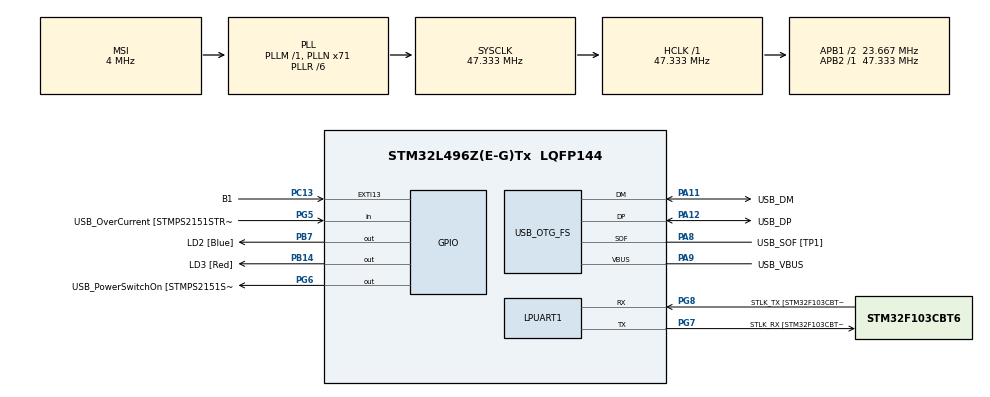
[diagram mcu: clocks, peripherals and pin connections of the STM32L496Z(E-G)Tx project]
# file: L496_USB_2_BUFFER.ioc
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Mcu.Family=STM32L4
Mcu.Name=STM32L496Z(E-G)Tx
Mcu.Package=LQFP144
NVIC.OTG_FS_IRQn=true\:0\:0\:false\:false\:true\:false\:true\:true
NVIC.PriorityGroup=NVIC_PRIORITYGROUP_4
PA10.GPIO_Label=USB_ID
PA10.Signal=USB_OTG_FS_ID
PA11.GPIO_Label=USB_DM
PA11.Mode=Device_Only
PA11.Signal=USB_OTG_FS_DM
PA12.GPIO_Label=USB_DP
PA12.Mode=Device_Only
PA12.Signal=USB_OTG_FS_DP
PA13\ (JTMS/SWDIO).GPIO_Label=TMS
PA13\ (JTMS/SWDIO).Mode=Trace_Asynchronous_SW
PA13\ (JTMS/SWDIO).Signal=SYS_JTMS-SWDIO
PA14\ (JTCK/SWCLK).GPIO_Label=TCK
PA14\ (JTCK/SWCLK).Mode=Trace_Asynchronous_SW
PA14\ (JTCK/SWCLK).Signal=SYS_JTCK-SWCLK
PA8.GPIO_Label=USB_SOF [TP1]
PA8.Mode=Activate_SOF_FS
PA8.Signal=USB_OTG_FS_SOF
PA9.GPIO_Label=USB_VBUS
PA9.Mode=Activate_VBUS
PA9.Signal=USB_OTG_FS_VBUS
PB14.GPIO_Label=LD3 [Red]
PB14.Signal=GPIO_Output
PB3\ (JTDO/TRACESWO).GPIO_Label=SWO
PB3\ (JTDO/TRACESWO).Mode=Trace_Asynchronous_SW
PB3\ (JTDO/TRACESWO).Signal=SYS_JTDO-SWO
PB7.GPIO_Label=LD2 [Blue]
PB7.Signal=GPIO_Output
PC13.GPIO_Label=B1
PC13.Signal=GPXTI13
PC14-OSC32_IN\ (PC14).Mode=LSE-External-Oscillator
PC14-OSC32_IN\ (PC14).Signal=RCC_OSC32_IN
PC15-OSC32_OUT\ (PC15).Mode=LSE-External-Oscillator
PC15-OSC32_OUT\ (PC15).Signal=RCC_OSC32_OUT
PG5.GPIO_Label=USB_OverCurrent [STMPS2151STR_FAULT]
PG5.Signal=GPIO_Input
PG6.GPIO_Label=USB_PowerSwitchOn [STMPS2151STR_EN]
PG6.Signal=GPIO_Output
PG7.GPIO_Label=STLK_RX [STM32F103CBT6_PA3]
PG7.Mode=Asynchronous
PG7.Signal=LPUART1_TX
PG8.GPIO_Label=STLK_TX [STM32F103CBT6_PA2]
PG8.Mode=Asynchronous
PG8.Signal=LPUART1_RX
PH1-OSC_OUT\ (PH1).Signal=RCC_OSC_OUT
ProjectManager.HeapSize=0x200
ProjectManager.StackSize=0x400
ProjectManager.TargetToolchain=STM32CubeIDE
RCC.48MHZClocksFreq_Value=24000000
RCC.ADCFreq_Value=48000000
RCC.AHBFreq_Value=47333333.333333336
RCC.APB1CLKDivider=RCC_HCLK_DIV2
RCC.APB1Freq_Value=23666666.666666668
RCC.APB1TimFreq_Value=47333333.333333336
RCC.APB2Freq_Value=47333333.333333336
RCC.APB2TimFreq_Value=47333333.333333336
RCC.CortexFreq_Value=47333333.333333336
RCC.HCLKFreq_Value=47333333.333333336
RCC.HSE_VALUE=8000000
RCC.HSI48_VALUE=48000000
RCC.HSI_VALUE=16000000
RCC.MSI_VALUE=4000000
RCC.PLLMUL=RCC_PLL_MUL9
RCC.PLLN=71
RCC.PLLR=RCC_PLLR_DIV6
RCC.PLLSAI1N=24
RCC.PRESCALERUSB=RCC_USBCLKSOURCE_PLL_DIV1_5
RCC.SYSCLKFreq_VALUE=47333333.333333336
RCC.SYSCLKSource=RCC_SYSCLKSOURCE_PLLCLK
RCC.SYSCLKSourceVirtual=RCC_SYSCLKSOURCE_PLLCLK
RCC.USBFreq_Value=48000000
RCC.VCOOutputFreq_Value=284000000
USB_DEVICE.CLASS_NAME_FS=CDC
USB_DEVICE.VirtualMode=Cdc
USB_DEVICE.VirtualModeFS=Cdc_FS
USB_OTG_FS.VirtualMode=Device_Only
VP_USB_DEVICE_VS_USB_DEVICE_CDC_FS.Mode=CDC_FS
board=NUCLEO-L496ZG

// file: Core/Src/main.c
/* USER CODE BEGIN Header */
/**
  ******************************************************************************
  * @file           : main.c
  * @brief          : Main program body
  ******************************************************************************
  * @attention
  *
  * Copyright (c) 2026 STMicroelectronics.
  * All rights reserved.
  *
  * This software is licensed under terms that can be found in the LICENSE file
  * in the root directory of this software component.
  * If no LICENSE file comes with this software, it is provided AS-IS.
  *
  ******************************************************************************
  */
/* USER CODE END Header */
#include "main.h"
#include "usb_device.h"

/* USER CODE BEGIN Includes */
#include <stdio.h>
/* USER CODE END Includes */

/* USER CODE BEGIN PD */
extern void CDC_Buffer_Processed(uint8_t buffer_id);
extern volatile uint8_t Buffer_A_Ready;
extern volatile uint8_t Buffer_B_Ready;
extern volatile uint32_t Buffer_A_Length;
extern volatile uint32_t Buffer_B_Length;
extern uint8_t UserRxBufferFS_A[];
extern uint8_t UserRxBufferFS_B[];

/* USER CODE END PD */

UART_HandleTypeDef hlpuart1;

void SystemClock_Config(void);
static void MX_GPIO_Init(void);
static void MX_LPUART1_UART_Init(void);
/* USER CODE BEGIN PFP */
#define PUTCHAR_PROTOTYPE int __io_putchar(int ch)
void save_sdcard(uint8_t *buf, uint32_t len);
/* USER CODE END PFP */

int main(void)
{

  /* MCU Configuration--------------------------------------------------------*/

  /* Reset of all peripherals, Initializes the Flash interface and the Systick. */
  HAL_Init();

  /* Configure the system clock */
  SystemClock_Config();

  /* Initialize all configured peripherals */
  MX_GPIO_Init();
  MX_LPUART1_UART_Init();
  MX_USB_DEVICE_Init();

  /* Infinite loop */
  /* USER CODE BEGIN WHILE */

  while (1)
  {
      if (Buffer_A_Ready)
      {
          save_sdcard(UserRxBufferFS_A, Buffer_A_Length);
          CDC_Buffer_Processed(0);
      }

      if (Buffer_B_Ready)
      {
          save_sdcard(UserRxBufferFS_B, Buffer_B_Length);
          CDC_Buffer_Processed(1);
      }
    /* USER CODE END WHILE */

  }
}

void SystemClock_Config(void)
{
  RCC_OscInitTypeDef RCC_OscInitStruct = {0};
  RCC_ClkInitTypeDef RCC_ClkInitStruct = {0};

  /** Configure the main internal regulator output voltage
  */
  if (HAL_PWREx_ControlVoltageScaling(PWR_REGULATOR_VOLTAGE_SCALE1) != HAL_OK)
  {
    Error_Handler();
  }

  /** Configure LSE Drive Capability
  */
  HAL_PWR_EnableBkUpAccess();
  __HAL_RCC_LSEDRIVE_CONFIG(RCC_LSEDRIVE_LOW);

  /** Initializes the RCC Oscillators according to the specified parameters
  * in the RCC_OscInitTypeDef structure.
  */
  RCC_OscInitStruct.OscillatorType = RCC_OSCILLATORTYPE_LSE|RCC_OSCILLATORTYPE_MSI;
  RCC_OscInitStruct.LSEState = RCC_LSE_ON;
  RCC_OscInitStruct.MSIState = RCC_MSI_ON;
  RCC_OscInitStruct.MSICalibrationValue = 0;
  RCC_OscInitStruct.MSIClockRange = RCC_MSIRANGE_6;
  RCC_OscInitStruct.PLL.PLLState = RCC_PLL_ON;
  RCC_OscInitStruct.PLL.PLLSource = RCC_PLLSOURCE_MSI;
  RCC_OscInitStruct.PLL.PLLM = 1;
  RCC_OscInitStruct.PLL.PLLN = 71;
  RCC_OscInitStruct.PLL.PLLP = RCC_PLLP_DIV2;
  RCC_OscInitStruct.PLL.PLLQ = RCC_PLLQ_DIV2;
  RCC_OscInitStruct.PLL.PLLR = RCC_PLLR_DIV6;
  if (HAL_RCC_OscConfig(&RCC_OscInitStruct) != HAL_OK)
  {
    Error_Handler();
  }

  /** Initializes the CPU, AHB and APB buses clocks
  */
  RCC_ClkInitStruct.ClockType = RCC_CLOCKTYPE_HCLK|RCC_CLOCKTYPE_SYSCLK
                              |RCC_CLOCKTYPE_PCLK1|RCC_CLOCKTYPE_PCLK2;
  RCC_ClkInitStruct.SYSCLKSource = RCC_SYSCLKSOURCE_PLLCLK;
  RCC_ClkInitStruct.AHBCLKDivider = RCC_SYSCLK_DIV1;
  RCC_ClkInitStruct.APB1CLKDivider = RCC_HCLK_DIV2;
  RCC_ClkInitStruct.APB2CLKDivider = RCC_HCLK_DIV1;

  if (HAL_RCC_ClockConfig(&RCC_ClkInitStruct, FLASH_LATENCY_2) != HAL_OK)
  {
    Error_Handler();
  }

  /** Enable MSI Auto calibration
  */
  HAL_RCCEx_EnableMSIPLLMode();
}

static void MX_LPUART1_UART_Init(void)
{

  hlpuart1.Instance = LPUART1;
  hlpuart1.Init.BaudRate = 209700;
  hlpuart1.Init.WordLength = UART_WORDLENGTH_7B;
  hlpuart1.Init.StopBits = UART_STOPBITS_1;
  hlpuart1.Init.Parity = UART_PARITY_NONE;
  hlpuart1.Init.Mode = UART_MODE_TX_RX;
  hlpuart1.Init.HwFlowCtl = UART_HWCONTROL_NONE;
  hlpuart1.Init.OneBitSampling = UART_ONE_BIT_SAMPLE_DISABLE;
  hlpuart1.AdvancedInit.AdvFeatureInit = UART_ADVFEATURE_NO_INIT;
  if (HAL_UART_Init(&hlpuart1) != HAL_OK)
  {
    Error_Handler();
  }

}

static void MX_GPIO_Init(void)
{
  GPIO_InitTypeDef GPIO_InitStruct = {0};

  /* GPIO Ports Clock Enable */
  __HAL_RCC_GPIOC_CLK_ENABLE();
  __HAL_RCC_GPIOH_CLK_ENABLE();
  __HAL_RCC_GPIOB_CLK_ENABLE();
  __HAL_RCC_GPIOG_CLK_ENABLE();
  HAL_PWREx_EnableVddIO2();
  __HAL_RCC_GPIOA_CLK_ENABLE();

  /*Configure GPIO pin Output Level */
  HAL_GPIO_WritePin(GPIOB, LD3_Pin|LD2_Pin, GPIO_PIN_RESET);

  /*Configure GPIO pin Output Level */
  HAL_GPIO_WritePin(USB_PowerSwitchOn_GPIO_Port, USB_PowerSwitchOn_Pin, GPIO_PIN_RESET);

  /*Configure GPIO pin : B1_Pin */
  GPIO_InitStruct.Pin = B1_Pin;
  GPIO_InitStruct.Mode = GPIO_MODE_IT_RISING;
  GPIO_InitStruct.Pull = GPIO_NOPULL;
  HAL_GPIO_Init(B1_GPIO_Port, &GPIO_InitStruct);

  /*Configure GPIO pins : LD3_Pin LD2_Pin */
  GPIO_InitStruct.Pin = LD3_Pin|LD2_Pin;
  GPIO_InitStruct.Mode = GPIO_MODE_OUTPUT_PP;
  GPIO_InitStruct.Pull = GPIO_NOPULL;
  GPIO_InitStruct.Speed = GPIO_SPEED_FREQ_LOW;
  HAL_GPIO_Init(GPIOB, &GPIO_InitStruct);

  /*Configure GPIO pin : USB_OverCurrent_Pin */
  GPIO_InitStruct.Pin = USB_OverCurrent_Pin;
  GPIO_InitStruct.Mode = GPIO_MODE_INPUT;
  GPIO_InitStruct.Pull = GPIO_NOPULL;
  HAL_GPIO_Init(USB_OverCurrent_GPIO_Port, &GPIO_InitStruct);

  /*Configure GPIO pin : USB_PowerSwitchOn_Pin */
  GPIO_InitStruct.Pin = USB_PowerSwitchOn_Pin;
  GPIO_InitStruct.Mode = GPIO_MODE_OUTPUT_PP;
  GPIO_InitStruct.Pull = GPIO_NOPULL;
  GPIO_InitStruct.Speed = GPIO_SPEED_FREQ_LOW;
  HAL_GPIO_Init(USB_PowerSwitchOn_GPIO_Port, &GPIO_InitStruct);

}

/* USER CODE BEGIN 4 */
PUTCHAR_PROTOTYPE
{
  /* Place your implementation of fputc here */
  /* e.g. write a character to the USART1 and Loop until the end of transmission */
  HAL_UART_Transmit(&hlpuart1, (uint8_t *)&ch, 1, 0xFFFF);

  return ch;
}
void save_sdcard(uint8_t *buf, uint32_t len)
{
  // Print the buffer content as a string
  printf("%.*s\r\n", (int)len, (char*)buf);
}
/* USER CODE END 4 */

void Error_Handler(void)
{
  __disable_irq();
  while (1)
  {
  }
}
